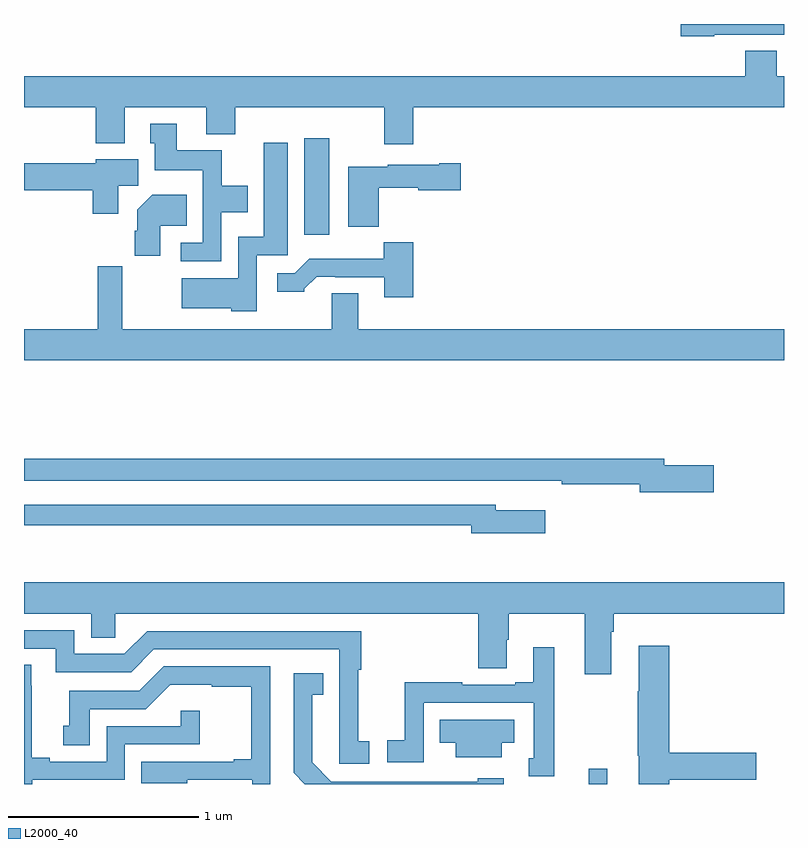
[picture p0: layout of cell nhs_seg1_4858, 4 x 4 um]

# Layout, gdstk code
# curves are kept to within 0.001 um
import gdstk
lib = gdstk.Library(unit=1e-6, precision=1e-09)
def R(c, l, rs):  # rectangles x0, y0, x1, y1
    for r in rs: c.add(gdstk.rectangle(r[:2], r[2:], *l))
def P(c, l, *ps):  # polygons
    for p in ps: c.add(gdstk.Polygon(p, *l))
L2000_40 = (2000, 40)

nhs_seg1_4858 = lib.new_cell('nhs_seg1_4858')
R(nhs_seg1_4858, L2000_40, [(377.973,520.199,378.07,520.279), (376.475,523.089,376.606,523.597)])
P(nhs_seg1_4858, L2000_40, [(378.633,524.142),(379,524.142),(379,524.199),(378.457,524.199),(378.457,524.135),(378.633,524.135)],
  [(377.048,523.76),(379,523.76),(379,523.924),(378.962,523.924),(378.962,524.057),(378.797,524.057),(378.797,523.924),(375,523.924),(375,523.76),(375.377,523.76),(375.377,523.571),(375.529,523.571),(375.529,523.76),(375.959,523.76),(375.959,523.619),(376.112,523.619),(376.112,523.76),(376.895,523.76),(376.895,523.566),(377.048,523.566)],
  [(376.038,523.208),(376.177,523.208),(376.177,523.348),(376.041,523.348),(376.041,523.534),(375.805,523.534),(375.805,523.675),(375.665,523.675),(375.665,523.572),(375.689,523.572),(375.689,523.43),(375.942,523.43),(375.942,523.047),(375.825,523.047),(375.825,522.951),(376.038,522.951)],
  [(376.224,522.981),(376.387,522.981),(376.387,523.573),(376.262,523.573),(376.262,523.078),(376.128,523.078),(376.128,522.862),(375.831,522.862),(375.831,522.704),(376.092,522.704),(376.092,522.686),(376.224,522.686)],
  [(375.496,523.348),(375.601,523.348),(375.601,523.486),(375.378,523.486),(375.378,523.467),(375,523.467),(375,523.325),(375.362,523.325),(375.362,523.2),(375.496,523.2)],
  [(376.868,523.337),(377.076,523.337),(377.076,523.325),(377.299,523.325),(377.299,523.467),(377.186,523.467),(377.186,523.459),(376.914,523.459),(376.914,523.447),(376.706,523.447),(376.706,523.133),(376.868,523.133)],
  [(375.718,523.136),(375.857,523.136),(375.857,523.3),(375.674,523.3),(375.596,523.222),(375.596,523.112),(375.584,523.112),(375.584,522.978),(375.718,522.978)],
  [(377.048,523.051),(376.893,523.051),(376.893,522.964),(376.501,522.964),(376.425,522.888),(376.332,522.888),(376.332,522.791),(376.476,522.791),(376.476,522.806),(376.54,522.87),(376.639,522.87),(376.639,522.867),(376.895,522.867),(376.895,522.762),(377.048,522.762)],
  [(379,522.592),(376.759,522.592),(376.759,522.782),(376.619,522.782),(376.619,522.592),(375.517,522.592),(375.517,522.925),(375.388,522.925),(375.388,522.592),(375,522.592),(375,522.428),(379,522.428)],
  [(378.631,521.876),(378.37,521.876),(378.37,521.912),(375,521.912),(375,521.796),(377.578,521.796),(377.578,521.795),(377.83,521.795),(377.83,521.776),(378.242,521.776),(378.242,521.734),(378.631,521.734)],
  [(377.743,521.641),(377.482,521.641),(377.482,521.67),(375,521.67),(375,521.562),(377.354,521.562),(377.354,521.519),(377.743,521.519)],
  [(378.091,521),(378.104,521),(378.104,521.096),(379,521.096),(379,521.26),(375,521.26),(375,521.096),(375.353,521.096),(375.353,520.969),(375.48,520.969),(375.48,521.096),(377.39,521.096),(377.39,520.807),(377.542,520.807),(377.542,520.958),(377.55,520.958),(377.55,521.096),(377.951,521.096),(377.951,520.776),(378.091,520.776)],
  [(376.816,520.425),(376.758,520.425),(376.758,520.801),(376.775,520.801),(376.775,521.004),(375.648,521.004),(375.528,520.884),(375.264,520.884),(375.264,521.007),(375,521.007),(375,520.911),(375.168,520.911),(375.168,520.788),(375.564,520.788),(375.684,520.908),(376.659,520.908),(376.658,520.305),(376.816,520.305)],
  [(378.395,520.222),(378.853,520.222),(378.853,520.364),(378.395,520.364),(378.395,520.927),(378.236,520.927),(378.236,520.688),(378.229,520.688),(378.229,520.347),(378.236,520.347),(378.236,520.199),(378.395,520.199)],
  [(377.791,520.918),(377.681,520.918),(377.681,520.735),(377.585,520.735),(377.585,520.722),(377.306,520.722),(377.306,520.735),(377.005,520.735),(377.005,520.43),(376.911,520.43),(376.911,520.314),(377.103,520.314),(377.103,520.626),(377.682,520.626),(377.682,520.335),(377.657,520.335),(377.657,520.241),(377.791,520.241)],
  [(375.044,520.221),(375.531,520.221),(375.531,520.407),(375.926,520.407),(375.926,520.585),(375.825,520.585),(375.825,520.503),(375.435,520.503),(375.435,520.317),(375.136,520.317),(375.136,520.337),(375.04,520.337),(375.04,520.715),(375.038,520.715),(375.038,520.826),(375,520.826),(375,520.199),(375.044,520.199)],
  [(376.296,520.818),(375.735,520.818),(375.606,520.689),(375.239,520.689),(375.239,520.506),(375.206,520.506),(375.206,520.402),(375.346,520.402),(375.346,520.593),(375.642,520.593),(375.77,520.721),(375.989,520.721),(375.989,520.71),(376.195,520.71),(376.195,520.33),(376.103,520.33),(376.103,520.317),(375.616,520.317),(375.616,520.202),(375.859,520.202),(375.859,520.221),(376.2,520.221),(376.2,520.199),(376.296,520.199)],
  [(377.524,520.228),(377.388,520.228),(377.388,520.212),(376.617,520.212),(376.516,520.313),(376.516,520.67),(376.574,520.67),(376.574,520.783),(376.419,520.783),(376.419,520.258),(376.478,520.199),(377.524,520.199)],
  [(377.515,520.415),(377.581,520.415),(377.581,520.537),(377.188,520.537),(377.188,520.415),(377.273,520.415),(377.273,520.34),(377.515,520.34)])

lib.write_gds('nhs_seg1_4858.gds')
